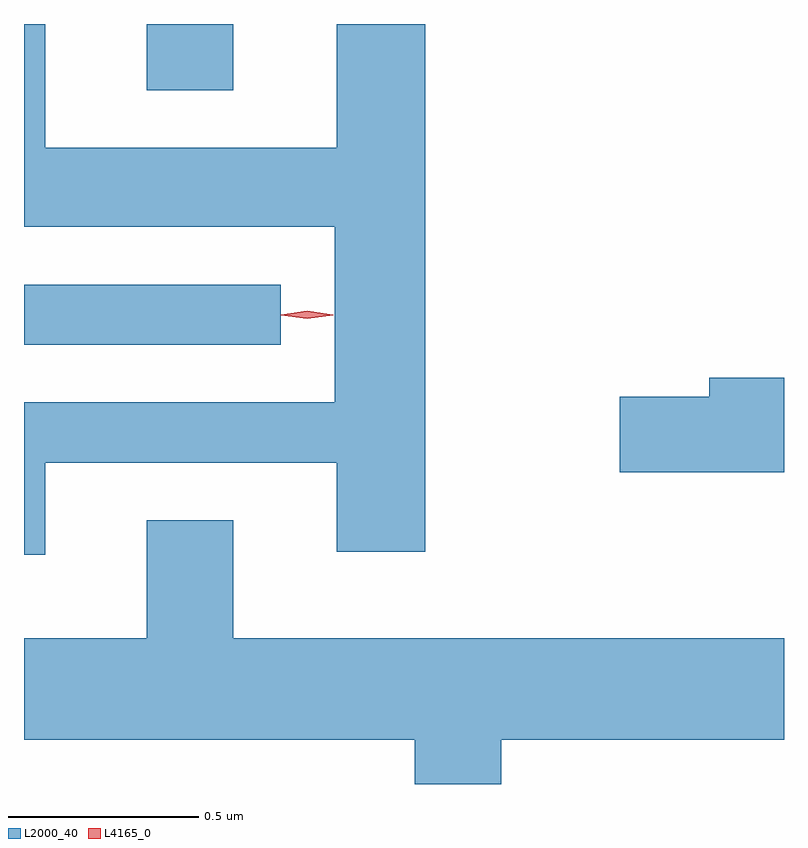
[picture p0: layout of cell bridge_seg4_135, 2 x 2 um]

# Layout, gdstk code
import gdstk
lib = gdstk.Library(unit=1e-6, precision=1e-09)
def R(c, l, rs):  # rectangles x0, y0, x1, y1
    for r in rs: c.add(gdstk.rectangle(r[:2], r[2:], *l))
def P(c, l, *ps):  # polygons
    for p in ps: c.add(gdstk.Polygon(p, *l))
L2000_40 = (2000, 40)
L4165_0 = (4165, 0)

bridge_seg4_135 = lib.new_cell('bridge_seg4_135')
R(bridge_seg4_135, L2000_40, [(870.448,1300.216,871.123,1300.374), (870.771,1300.886,870.999,1301.06)])
P(bridge_seg4_135, L2000_40, [(870.504,1299.906),(871.271,1299.906),(871.271,1299.671),(871.504,1299.671),(871.504,1301.06),(871.271,1301.06),(871.271,1300.734),(870.504,1300.734),(870.504,1301.06),(870.448,1301.06),(870.448,1300.526),(871.266,1300.526),(871.266,1300.064),(870.448,1300.064),(870.448,1299.663),(870.504,1299.663)],
  [(872.448,1300.129),(872.251,1300.129),(872.251,1300.079),(872.016,1300.079),(872.016,1299.881),(872.448,1299.881)],
  [(871.704,1299.176),(872.448,1299.176),(872.448,1299.444),(870.999,1299.444),(870.999,1299.754),(870.771,1299.754),(870.771,1299.444),(870.448,1299.444),(870.448,1299.176),(871.476,1299.176),(871.476,1299.06),(871.704,1299.06)])
P(bridge_seg4_135, L4165_0, [(871.193,1300.285),(871.128,1300.294),(871.127,1300.295),(871.128,1300.295),(871.193,1300.305),(871.259,1300.295),(871.26,1300.295),(871.259,1300.294)],
  [(871.193,1300.285),(871.124,1300.294),(871.124,1300.295),(871.124,1300.295),(871.193,1300.305),(871.262,1300.295),(871.262,1300.295),(871.262,1300.294)])

lib.write_gds('bridge_seg4_135.gds')
